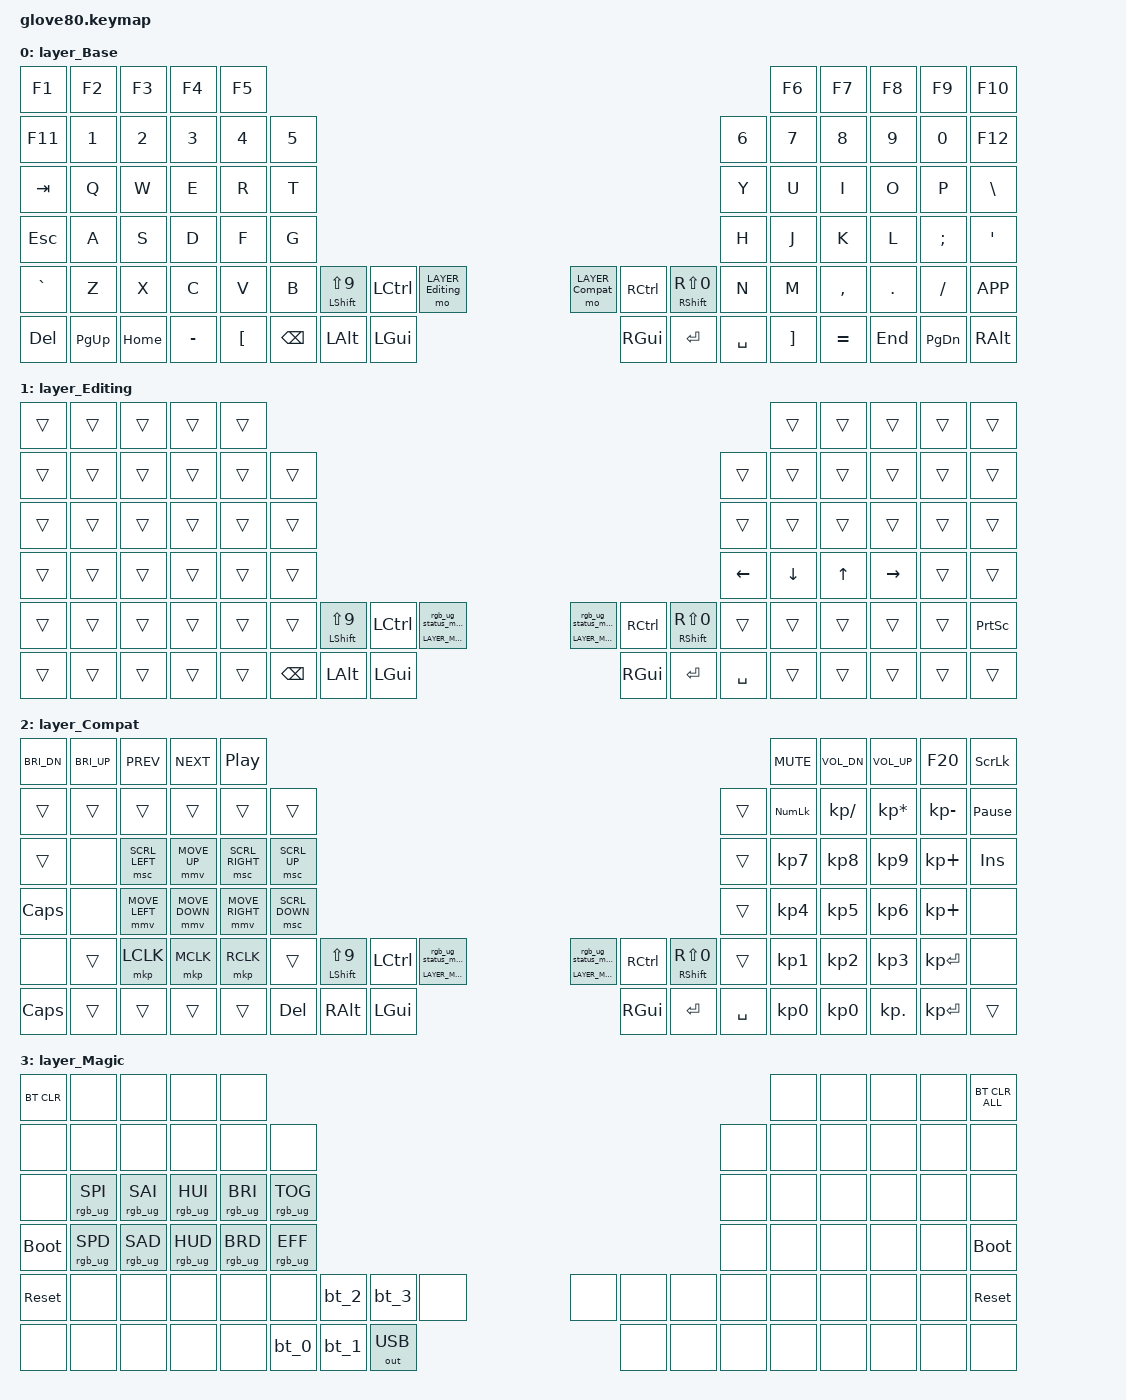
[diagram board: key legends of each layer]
/*
 * Copyright (c) 2020 The ZMK Contributors
 * Copyright (c) 2025 Innaworks Development Limited, trading as MoErgo
 *
 * SPDX-License-Identifier: MIT
 */

#include <behaviors.dtsi>
/* Include all behavior includes needed */
#include <dt-bindings/zmk/outputs.h>
#include <dt-bindings/zmk/keys.h>
#include <dt-bindings/zmk/bt.h>
#include <dt-bindings/zmk/rgb.h>

/* On demand includes */
// Mouse
#define ZMK_POINTING_DEFAULT_MOVE_VAL 2048
#include <dt-bindings/zmk/pointing.h>

/* Helper Macros, based on https://github.com/urob/zmk-helpers/ */

#pragma once

#define ZMK_HELPER_STRINGIFY(x) #x

// Preprocessor mechanism to overload macros, cf. https://stackoverflow.com/a/27051616/6114651
#define VARGS_(_10, _9, _8, _7, _6, _5, _4, _3, _2, _1, N, ...) N
#define VARGS(...) VARGS_(__VA_ARGS__, 10, 9, 8, 7, 6, 5, 4, 3, 2, 1, 0)
#define CONCAT_(a, b) a##b
#define CONCAT(a, b) CONCAT_(a, b)

#define ZMK_BEHAVIOR_CORE_tap_dance  \
    compatible = "zmk,behavior-tap-dance"; \
    #binding-cells = <0>

#define ZMK_BEHAVIOR(name, type, ...) \
    name: name { \
        ZMK_BEHAVIOR_CORE_ ## type; \
        __VA_ARGS__ \
    };

#define ZMK_TAP_DANCE(name, ...) \
    ZMK_BEHAVIOR(name, tap_dance, __VA_ARGS__)

#define ZMK_TD_LAYER(name, layer) \
    ZMK_TAP_DANCE(name, \
        tapping-term-ms = <200>; \
        bindings = <&mo layer>, <&to layer>; \
)

/* Environment and metadata defines */
#define KB_TYPE_GLOVE_80 1
#define KB_TYPE_GO_60    2

#define KB_TYPE          KB_TYPE_GLOVE_80
#define EDITOR_HOST_OS   'L'

/* Automatically generated layer name defines */
#define LAYER_Base 0
#define LAYER_Editing 1
#define LAYER_Compat 2
#define LAYER_Magic 3

/* To deal with the situation where there is no Lower layer, to keep &lower happy */
#ifndef LAYER_Lower
#define LAYER_Lower 0
#endif

/* Custom Device-tree */


/* Input Listeners */


/* System behavior and Macros */
/ {
    behaviors {
        ZMK_TD_LAYER(lower, LAYER_Lower)
    };
};

/ {
    macros {
        rgb_ug_status_macro: rgb_ug_status_macro {
            label = "RGB_UG_STATUS";
            compatible = "zmk,behavior-macro";
            #binding-cells = <0>;
            bindings
                = <&rgb_ug RGB_STATUS>;
        };
    };
};

// Mouse Move
&mmv {
    trigger-period-ms    = <1>;
    time-to-max-speed-ms = <1000>;
};

// Mouse Scroll
&msc {
    trigger-period-ms = <1>;
};

/ {
#ifdef BT_DISC_CMD
    behaviors {
        bt_0: bt_0 {
            compatible = "zmk,behavior-tap-dance";
            label = "BT_0";
            #binding-cells = <0>;
            tapping-term-ms = <200>;
            bindings = <&bt_select_0>, <&bt BT_DISC 0>;
        };
        bt_1: bt_1 {
            compatible = "zmk,behavior-tap-dance";
            label = "BT_1";
            #binding-cells = <0>;
            tapping-term-ms = <200>;
            bindings = <&bt_select_1>, <&bt BT_DISC 1>;
        };
        bt_2: bt_2 {
            compatible = "zmk,behavior-tap-dance";
            label = "BT_2";
            #binding-cells = <0>;
            tapping-term-ms = <200>;
            bindings = <&bt_select_2>, <&bt BT_DISC 2>;
        };
        bt_3: bt_3 {
            compatible = "zmk,behavior-tap-dance";
            label = "BT_3";
            #binding-cells = <0>;
            tapping-term-ms = <200>;
            bindings = <&bt_select_3>, <&bt BT_DISC 3>;
        };
    };
    macros {
        bt_select_0: bt_select_0 {
            label = "BT_SELECT_0";
            compatible = "zmk,behavior-macro";
            #binding-cells = <0>;
            bindings
                = <&out OUT_BLE>,
                  <&bt BT_SEL 0>;
        };
        bt_select_1: bt_select_1 {
            label = "BT_SELECT_1";
            compatible = "zmk,behavior-macro";
            #binding-cells = <0>;
            bindings
                = <&out OUT_BLE>,
                  <&bt BT_SEL 1>;
        };
        bt_select_2: bt_select_2 {
            label = "BT_SELECT_2";
            compatible = "zmk,behavior-macro";
            #binding-cells = <0>;
            bindings
                = <&out OUT_BLE>,
                  <&bt BT_SEL 2>;
        };
        bt_select_3: bt_select_3 {
            label = "BT_SELECT_3";
            compatible = "zmk,behavior-macro";
            #binding-cells = <0>;
            bindings
                = <&out OUT_BLE>,
                  <&bt BT_SEL 3>;
        };
    };
#else
    macros {
        bt_0: bt_0 {
            label = "BT_0";
            compatible = "zmk,behavior-macro";
            #binding-cells = <0>;
            bindings
                = <&out OUT_BLE>,
                  <&bt BT_SEL 0>;
        };
        bt_1: bt_1 {
            label = "BT_1";
            compatible = "zmk,behavior-macro";
            #binding-cells = <0>;
            bindings
                = <&out OUT_BLE>,
                  <&bt BT_SEL 1>;
        };
        bt_2: bt_2 {
            label = "BT_2";
            compatible = "zmk,behavior-macro";
            #binding-cells = <0>;
            bindings
                = <&out OUT_BLE>,
                  <&bt BT_SEL 2>;
        };
        bt_3: bt_3 {
            label = "BT_3";
            compatible = "zmk,behavior-macro";
            #binding-cells = <0>;
            bindings
                = <&out OUT_BLE>,
                  <&bt BT_SEL 3>;
        };
    };
#endif
};

/ {
    behaviors {
        magic: magic {
            compatible = "zmk,behavior-hold-tap";
            label = "MAGIC_HOLD_TAP";
            #binding-cells = <2>;
            flavor = "tap-preferred";
            tapping-term-ms = <200>;
            bindings = <&mo>, <&rgb_ug_status_macro>;
        };
    };
};


/* Key positions */

#define POS_LH_C6R1 0
#define POS_LH_C5R1 1
#define POS_LH_C4R1 2
#define POS_LH_C3R1 3
#define POS_LH_C2R1 4
#define POS_RH_C2R1 5
#define POS_RH_C3R1 6
#define POS_RH_C4R1 7
#define POS_RH_C5R1 8
#define POS_RH_C6R1 9
#define POS_LH_C6R2 10
#define POS_LH_C5R2 11
#define POS_LH_C4R2 12
#define POS_LH_C3R2 13
#define POS_LH_C2R2 14
#define POS_LH_C1R2 15
#define POS_RH_C1R2 16
#define POS_RH_C2R2 17
#define POS_RH_C3R2 18
#define POS_RH_C4R2 19
#define POS_RH_C5R2 20
#define POS_RH_C6R2 21
#define POS_LH_C6R3 22
#define POS_LH_C5R3 23
#define POS_LH_C4R3 24
#define POS_LH_C3R3 25
#define POS_LH_C2R3 26
#define POS_LH_C1R3 27
#define POS_RH_C1R3 28
#define POS_RH_C2R3 29
#define POS_RH_C3R3 30
#define POS_RH_C4R3 31
#define POS_RH_C5R3 32
#define POS_RH_C6R3 33
#define POS_LH_C6R4 34
#define POS_LH_C5R4 35
#define POS_LH_C4R4 36
#define POS_LH_C3R4 37
#define POS_LH_C2R4 38
#define POS_LH_C1R4 39
#define POS_RH_C1R4 40
#define POS_RH_C2R4 41
#define POS_RH_C3R4 42
#define POS_RH_C4R4 43
#define POS_RH_C5R4 44
#define POS_RH_C6R4 45
#define POS_LH_C6R5 46
#define POS_LH_C5R5 47
#define POS_LH_C4R5 48
#define POS_LH_C3R5 49
#define POS_LH_C2R5 50
#define POS_LH_C1R5 51
#define POS_LH_T1 52
#define POS_LH_T2 53
#define POS_LH_T3 54
#define POS_RH_T3 55
#define POS_RH_T2 56
#define POS_RH_T1 57
#define POS_RH_C1R5 58
#define POS_RH_C2R5 59
#define POS_RH_C3R5 60
#define POS_RH_C4R5 61
#define POS_RH_C5R5 62
#define POS_RH_C6R5 63
#define POS_LH_C6R6 64
#define POS_LH_C5R6 65
#define POS_LH_C4R6 66
#define POS_LH_C3R6 67
#define POS_LH_C2R6 68
#define POS_LH_T4 69
#define POS_LH_T5 70
#define POS_LH_T6 71
#define POS_RH_T6 72
#define POS_RH_T5 73
#define POS_RH_T4 74
#define POS_RH_C2R6 75
#define POS_RH_C3R6 76
#define POS_RH_C4R6 77
#define POS_RH_C5R6 78
#define POS_RH_C6R6 79

/* Custom Defined Behaviors */
/ {

};

/* Automatically generated macro definitions */
/ {
    macros {

    };
};

/* Automatically generated behavior definitions */
/ {
    behaviors {
    };
};

/* Automatically generated combos definitions */


/* Automatically generated keymap */
/ {
    keymap {
        compatible = "zmk,keymap";

        layer_Base {
            bindings = <
    &kp F1     &kp F2    &kp F3     &kp F4    &kp F5                                                                                                                   &kp F6     &kp F7   &kp F8     &kp F9    &kp F10
   &kp F11     &kp N1    &kp N2     &kp N3    &kp N4  &kp N5                                                                                                 &kp N6    &kp N7     &kp N8   &kp N9     &kp N0    &kp F12
   &kp TAB      &kp Q     &kp W      &kp E     &kp R   &kp T                                                                                                  &kp Y     &kp U      &kp I    &kp O      &kp P   &kp BSLH
   &kp ESC      &kp A     &kp S      &kp D     &kp F   &kp G                                                                                                  &kp H     &kp J      &kp K    &kp L   &kp SEMI    &kp SQT
 &kp GRAVE      &kp Z     &kp X      &kp C     &kp V   &kp B  &mt LSHFT LS(N9)  &kp LCTRL  &mo LAYER_Editing  &mo LAYER_Compat  &kp RCTRL  &mt RSHFT RS(N0)   &kp N     &kp M  &kp COMMA  &kp DOT   &kp FSLH  &kp K_APP
   &kp DEL  &kp PG_UP  &kp HOME  &kp MINUS  &kp LBKT                  &kp BSPC   &kp LALT           &kp LGUI          &kp RGUI    &kp RET         &kp SPACE          &kp RBKT  &kp EQUAL  &kp END  &kp PG_DN   &kp RALT
            >;
        };

        layer_Editing {
            bindings = <
 &trans  &trans  &trans  &trans  &trans                                                                                                                            &trans  &trans     &trans  &trans     &trans
 &trans  &trans  &trans  &trans  &trans  &trans                                                                                                          &trans    &trans  &trans     &trans  &trans     &trans
 &trans  &trans  &trans  &trans  &trans  &trans                                                                                                          &trans    &trans  &trans     &trans  &trans     &trans
 &trans  &trans  &trans  &trans  &trans  &trans                                                                                                        &kp LEFT  &kp DOWN  &kp UP  &kp RIGHT  &trans     &trans
 &trans  &trans  &trans  &trans  &trans  &trans  &mt LSHFT LS(N9)  &kp LCTRL  &magic LAYER_Magic 0  &magic LAYER_Magic 0  &kp RCTRL  &mt RSHFT RS(N0)    &trans    &trans  &trans     &trans  &trans  &kp PSCRN
 &trans  &trans  &trans  &trans  &trans                  &kp BSPC   &kp LALT              &kp LGUI              &kp RGUI    &kp RET         &kp SPACE              &trans  &trans     &trans  &trans     &trans
            >;
        };

        layer_Compat {
            bindings = <
 &kp C_BRI_DN  &kp C_BRI_UP      &kp C_PREV      &kp C_NEXT         &kp C_PP                                                                                                                                &kp C_MUTE  &kp C_VOL_DN     &kp C_VOL_UP       &kp F20         &kp SLCK
       &trans        &trans          &trans          &trans           &trans          &trans                                                                                                        &trans  &kp KP_NUM  &kp KP_SLASH  &kp KP_MULTIPLY  &kp KP_MINUS  &kp PAUSE_BREAK
       &trans         &none  &msc SCRL_LEFT    &mmv MOVE_UP  &msc SCRL_RIGHT    &msc SCRL_UP                                                                                                        &trans   &kp KP_N7     &kp KP_N8        &kp KP_N9   &kp KP_PLUS          &kp INS
     &kp CAPS         &none  &mmv MOVE_LEFT  &mmv MOVE_DOWN  &mmv MOVE_RIGHT  &msc SCRL_DOWN                                                                                                        &trans   &kp KP_N4     &kp KP_N5        &kp KP_N6   &kp KP_PLUS            &none
        &none        &trans       &mkp LCLK       &mkp MCLK        &mkp RCLK          &trans  &mt LSHFT LS(N9)  &kp LCTRL  &magic LAYER_Magic 0  &magic LAYER_Magic 0  &kp RCTRL  &mt RSHFT RS(N0)  &trans   &kp KP_N1     &kp KP_N2        &kp KP_N3  &kp KP_ENTER            &none
     &kp CAPS        &trans          &trans          &trans           &trans                           &kp DEL   &kp RALT              &kp LGUI              &kp RGUI    &kp RET         &kp SPACE           &kp KP_N0     &kp KP_N0       &kp KP_DOT  &kp KP_ENTER           &trans
            >;
        };

        layer_Magic {
            bindings = <
  &bt BT_CLR            &none            &none            &none            &none                                                                                  &none   &none   &none   &none  &bt BT_CLR_ALL
       &none            &none            &none            &none            &none            &none                                                         &none   &none   &none   &none   &none           &none
       &none  &rgb_ug RGB_SPI  &rgb_ug RGB_SAI  &rgb_ug RGB_HUI  &rgb_ug RGB_BRI  &rgb_ug RGB_TOG                                                         &none   &none   &none   &none   &none           &none
 &bootloader  &rgb_ug RGB_SPD  &rgb_ug RGB_SAD  &rgb_ug RGB_HUD  &rgb_ug RGB_BRD  &rgb_ug RGB_EFF                                                         &none   &none   &none   &none   &none     &bootloader
  &sys_reset            &none            &none            &none            &none            &none   &bt_2   &bt_3         &none   &none   &none   &none   &none   &none   &none   &none   &none      &sys_reset
       &none            &none            &none            &none            &none                    &bt_0   &bt_1  &out OUT_USB   &none   &none   &none           &none   &none   &none   &none           &none
            >;
        };
    };
};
